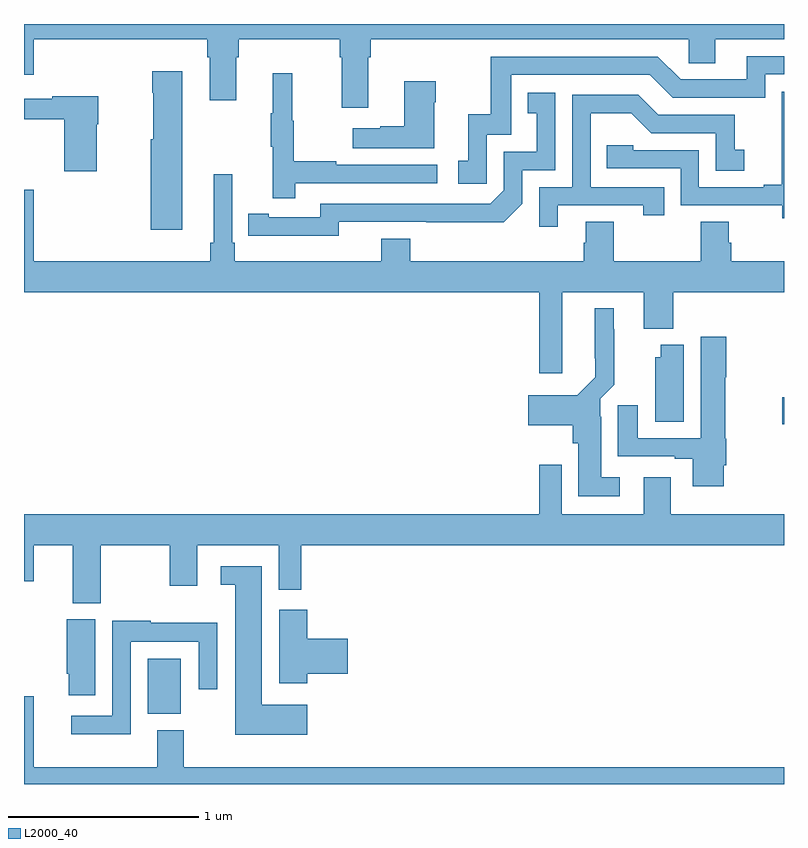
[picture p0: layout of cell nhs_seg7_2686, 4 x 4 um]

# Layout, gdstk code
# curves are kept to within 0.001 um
import gdstk
lib = gdstk.Library(unit=1e-6, precision=1e-09)
def R(c, l, rs):  # rectangles x0, y0, x1, y1
    for r in rs: c.add(gdstk.rectangle(r[:2], r[2:], *l))
def P(c, l, *ps):  # polygons
    for p in ps: c.add(gdstk.Polygon(p, *l))
L2000_40 = (2000, 40)

nhs_seg7_2686 = lib.new_cell('nhs_seg7_2686')
R(nhs_seg7_2686, L2000_40, [(285.65,1026.371,285.826,1026.658), (288.99,1027.894,289,1028.036)])
P(nhs_seg7_2686, L2000_40, [(286.813,1029.824),(286.826,1029.824),(286.826,1029.92),(288.498,1029.92),(288.498,1029.793),(288.637,1029.793),(288.637,1029.92),(289,1029.92),(289,1030),(285,1030),(285,1029.732),(285.052,1029.732),(285.052,1029.92),(285.965,1029.92),(285.965,1029.824),(285.977,1029.824),(285.977,1029.6),(286.117,1029.6),(286.117,1029.824),(286.13,1029.824),(286.13,1029.92),(286.661,1029.92),(286.661,1029.824),(286.673,1029.824),(286.673,1029.558),(286.813,1029.558)],
  [(287.436,1029.417),(287.565,1029.417),(287.565,1029.732),(288.294,1029.732),(288.414,1029.612),(288.9,1029.612),(288.9,1029.735),(289,1029.735),(289,1029.831),(288.803,1029.831),(288.803,1029.708),(288.456,1029.708),(288.336,1029.828),(287.457,1029.828),(287.457,1029.526),(287.339,1029.526),(287.339,1029.279),(287.286,1029.279),(287.286,1029.159),(287.436,1029.159)],
  [(285.832,1029.751),(285.674,1029.751),(285.674,1029.638),(285.679,1029.638),(285.679,1029.393),(285.668,1029.393),(285.668,1028.916),(285.832,1028.916)],
  [(286.427,1029.162),(287.176,1029.162),(287.176,1029.258),(286.643,1029.258),(286.643,1029.278),(286.42,1029.278),(286.42,1029.492),(286.412,1029.492),(286.412,1029.742),(286.31,1029.742),(286.31,1029.529),(286.299,1029.529),(286.299,1029.355),(286.31,1029.355),(286.31,1029.084),(286.427,1029.084)],
  [(287.158,1029.587),(287.166,1029.587),(287.166,1029.7),(287,1029.7),(287,1029.461),(286.874,1029.461),(286.874,1029.451),(286.731,1029.451),(286.731,1029.347),(287.158,1029.347)],
  [(289,1029.643),(288.988,1029.643),(288.988,1029.437),(288.989,1029.437),(288.989,1029.154),(288.893,1029.154),(288.893,1029.141),(288.552,1029.141),(288.552,1029.336),(288.207,1029.336),(288.207,1029.363),(288.067,1029.363),(288.067,1029.24),(288.456,1029.24),(288.456,1029.045),(288.99,1029.045),(288.99,1028.977),(289,1028.977)],
  [(286.656,1028.958),(287.524,1028.957),(287.622,1029.054),(287.622,1029.231),(287.796,1029.231),(287.796,1029.637),(287.65,1029.637),(287.65,1029.531),(287.699,1029.531),(287.699,1029.327),(287.526,1029.327),(287.526,1029.126),(287.454,1029.054),(286.56,1029.054),(286.56,1028.982),(286.288,1028.982),(286.288,1029.002),(286.18,1029.002),(286.18,1028.886),(286.656,1028.885)],
  [(287.809,1029.045),(288.26,1029.045),(288.26,1028.994),(288.371,1028.994),(288.371,1029.141),(287.982,1029.141),(287.982,1029.53),(288.196,1029.53),(288.3,1029.426),(288.642,1029.426),(288.642,1029.228),(288.79,1029.228),(288.79,1029.337),(288.741,1029.337),(288.741,1029.522),(288.337,1029.522),(288.232,1029.627),(287.886,1029.627),(287.886,1029.141),(287.712,1029.141),(287.712,1028.934),(287.809,1028.934)],
  [(285.382,1029.473),(285.39,1029.473),(285.39,1029.619),(285.148,1029.619),(285.148,1029.606),(285,1029.606),(285,1029.498),(285.212,1029.498),(285.212,1029.225),(285.382,1029.225)],
  [(287.833,1028.588),(288.263,1028.588),(288.263,1028.396),(288.416,1028.396),(288.416,1028.588),(289,1028.588),(289,1028.752),(288.722,1028.752),(288.722,1028.85),(288.709,1028.85),(288.709,1028.96),(288.562,1028.96),(288.562,1028.752),(288.105,1028.752),(288.105,1028.96),(287.957,1028.96),(287.957,1028.85),(287.945,1028.85),(287.945,1028.752),(287.033,1028.752),(287.033,1028.869),(286.88,1028.869),(286.88,1028.752),(286.109,1028.752),(286.109,1028.848),(286.095,1028.848),(286.095,1029.208),(285.998,1029.208),(285.998,1028.848),(285.979,1028.848),(285.979,1028.752),(285.052,1028.752),(285.052,1029.127),(285,1029.127),(285,1028.588),(287.711,1028.588),(287.711,1028.163),(287.833,1028.163)],
  [(288.136,1027.615),(288.037,1027.615),(288.037,1027.934),(288.033,1027.934),(288.033,1028.028),(288.107,1028.102),(288.107,1028.393),(288.103,1028.393),(288.103,1028.503),(288.005,1028.503),(288.006,1028.14),(287.913,1028.047),(287.655,1028.047),(287.655,1027.889),(287.888,1027.889),(287.888,1027.794),(287.918,1027.794),(287.918,1027.514),(288.136,1027.514)],
  [(288.682,1027.678),(288.695,1027.678),(288.695,1027.818),(288.69,1027.818),(288.69,1028.14),(288.695,1028.14),(288.695,1028.353),(288.563,1028.353),(288.563,1027.821),(288.229,1027.821),(288.229,1027.993),(288.125,1027.993),(288.125,1027.725),(288.425,1027.725),(288.425,1027.713),(288.521,1027.713),(288.521,1027.566),(288.682,1027.566)],
  [(288.472,1028.311),(288.35,1028.311),(288.35,1028.247),(288.323,1028.247),(288.323,1027.906),(288.472,1027.906)],
  [(289,1027.42),(288.403,1027.42),(288.403,1027.615),(288.263,1027.615),(288.263,1027.42),(287.829,1027.42),(287.829,1027.68),(287.713,1027.68),(287.713,1027.42),(285,1027.42),(285,1027.068),(285.052,1027.068),(285.052,1027.256),(285.257,1027.256),(285.257,1026.952),(285.405,1026.952),(285.405,1027.256),(285.766,1027.256),(285.766,1027.044),(285.913,1027.044),(285.913,1027.256),(286.34,1027.256),(286.34,1027.023),(286.459,1027.023),(286.459,1027.256),(289,1027.256)],
  [(286.492,1026.418),(286.252,1026.418),(286.252,1027.146),(286.035,1027.146),(286.035,1027.049),(286.112,1027.049),(286.112,1026.26),(286.492,1026.26)],
  [(286.49,1026.581),(286.705,1026.581),(286.705,1026.764),(286.49,1026.764),(286.49,1026.916),(286.343,1026.916),(286.343,1026.531),(286.49,1026.531)],
  [(285.376,1026.867),(285.224,1026.867),(285.224,1026.58),(285.236,1026.58),(285.236,1026.468),(285.376,1026.468)],
  [(285.561,1026.749),(285.921,1026.749),(285.921,1026.498),(286.017,1026.498),(286.017,1026.85),(285.668,1026.85),(285.668,1026.86),(285.465,1026.86),(285.465,1026.36),(285.249,1026.36),(285.249,1026.263),(285.561,1026.263)],
  [(289,1026.088),(285.841,1026.088),(285.841,1026.283),(285.701,1026.283),(285.701,1026.088),(285.052,1026.088),(285.052,1026.463),(285,1026.463),(285,1026),(289,1026)])

lib.write_gds('nhs_seg7_2686.gds')
